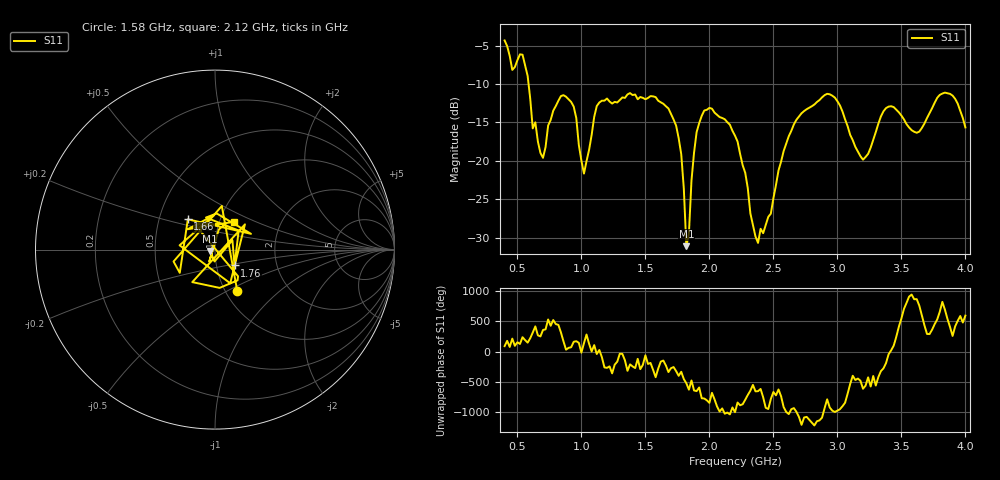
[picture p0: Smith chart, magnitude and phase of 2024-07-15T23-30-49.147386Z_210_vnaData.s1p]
!Created with skrf (http://scikit-rf.org).
# Hz S RI R 50.0
!freq ReS11 ImS11
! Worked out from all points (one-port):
!   181 points, 400 MHz to 4 GHz, reference 50 ohm
!   lowest |S11| = -31.1 dB at 1.82 GHz (marker M1), VSWR 1.06, Z = 47.4 - j0.793 ohm
!   |S11| at or under -10 dB: 587.1 MHz to end of sweep
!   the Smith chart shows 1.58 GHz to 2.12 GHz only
!   S11 on the Smith chart (normalised r, x): 1.58 GHz: 1.14, -0.56; 1.66 GHz: 0.70, +0.25; 1.76 GHz: 1.22, -0.22; 2.12 GHz: 1.17, +0.37
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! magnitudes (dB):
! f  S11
! 400 MHz  -4.3
! 460 MHz  -8.2
! 540 MHz  -6.2
! 620 MHz  -15.8
! 700 MHz  -19.6
! 860 MHz  -11.5
! 940 MHz  -13.0
! 1.02 GHz  -21.7
! 1.12 GHz  -12.9
! 1.3 GHz  -12.1
! 1.58 GHz  -11.7
! 1.66 GHz  -12.9
! 1.76 GHz  -17.1
! 1.8 GHz  -23.6
! 1.82 GHz  -31.1
! 1.88 GHz  -18.9
! 1.92 GHz  -15.1
! 2.12 GHz  -14.6
! 2.2 GHz  -16.7
! 2.38 GHz  -30.7
! 2.66 GHz  -15.3
! 2.94 GHz  -11.3
! 3.1 GHz  -16.6
! 3.2 GHz  -19.9
! 3.38 GHz  -13.1
! 3.56 GHz  -15.7
! 3.84 GHz  -11.1
! 4 GHz  -15.7
